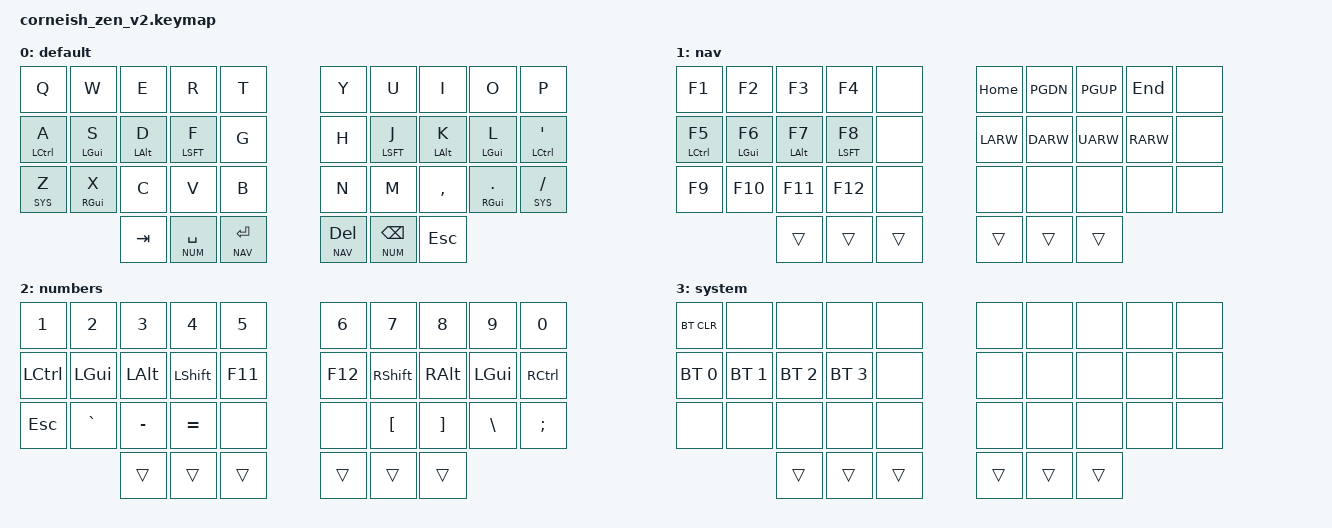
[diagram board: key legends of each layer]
#include <behaviors.dtsi>
#include <dt-bindings/zmk/keys.h>
#include <dt-bindings/zmk/bt.h>

#define DEF 0
#define NAV 1
#define NUM 2
#define SYS 3

&mt {
    flavor = "tap-preferred";
    tapping-term-ms = <150>;
    quick-tap-ms = <150>;
    global-quick-tap;
};

&lt {
    flavor = "tap-preferred";
    tapping-term-ms = <150>;
    quick-tap-ms = <150>;
};

/ {
  chosen {
    zmk,matrix_transform = &five_column_transform;
  };
};

#define COMBO(NAME, KEYPOS) \
    combo_##NAME { \
        timeout-ms = <100>; \
        key-positions = <KEYPOS>; \
        bindings = <&kp NAME>; \
    };

/ {
    combos {
        compatible = "zmk,combos";
        COMBO(NUM_1, 0 10)
        COMBO(NUM_2, 1 11)
        COMBO(NUM_3, 2 12)
        COMBO(NUM_4, 3 13)
        COMBO(NUM_5, 4 14)
        COMBO(NUM_6, 5 15)
        COMBO(NUM_7, 6 16)
        COMBO(NUM_8, 7 17)
        COMBO(NUM_9, 8 18)
        COMBO(NUM_0, 9 19)

        COMBO(ESC, 10 20)
        COMBO(GRAVE, 11 21)
        COMBO(MINUS, 12 22)
        COMBO(EQUAL, 13 23)
        COMBO(LEFT_BRACKET, 16 26)
        COMBO(RIGHT_BRACKET, 17 27)
        COMBO(BACKSLASH, 18 28)
        COMBO(SCLN, 19 29)
    };

    keymap {
        compatible = "zmk,keymap";

        def_layer {
            label = "default";
            bindings = <
    &kp Q       &kp W      &kp E      &kp R      &kp T &kp Y     &kp U      &kp I      &kp O      &kp P   
    &mt LCTL A  &mt LGUI S &mt LALT D &mt LSFT F &kp G &kp H     &mt LSFT J &mt LALT K &mt LGUI L &mt LCTL QUOT
    &lt SYS Z   &mt RGUI X      &kp C      &kp V   &kp B &kp N     &kp M   &kp CMMA   &mt RGUI DOT    &lt SYS SLASH
                	&kp TAB &lt NUM SPC &lt NAV RET &lt NAV DEL &lt NUM BKSP  &kp ESC
            >;
        };

        nav_layer {
            label = "nav";
            bindings = <
    &kp F1 &kp F2 &kp F3 &kp F4 &none &kp HOME &kp PGDN &kp PGUP &kp END &none
    &mt LCTL F5 &mt LGUI F6 &mt LALT F7 &mt LSFT F8 &none &kp LARW &kp DARW &kp UARW &kp RARW &none
    &kp F9 &kp F10 &kp F11 &kp F12 &none &none &none &none &none &none
                &trans &trans &trans &trans &trans &trans
            >;
        };

        num_layer {
            label = "numbers";
            bindings = <
    &kp NUMBER_1 &kp NUMBER_2 &kp NUMBER_3 &kp NUMBER_4 &kp NUMBER_5 &kp NUMBER_6 &kp NUMBER_7 &kp NUMBER_8 &kp NUMBER_9 &kp NUMBER_0
    &kp LCTRL &kp LGUI &kp LALT &kp LSHFT &kp F11 &kp F12 &kp RSHFT &kp RALT &kp LGUI &kp RCTRL
    &kp ESC &kp GRAVE &kp MINUS &kp EQUAL &none &none &kp LEFT_BRACKET &kp RIGHT_BRACKET &kp BACKSLASH &kp SCLN
                &trans &trans &trans &trans &trans &trans
            >;
        };

        sys_layer {
            label = "system";
            bindings = <
    &bt BT_CLR &none &none &none &none &none &none &none &none &none 
    &bt BT_SEL 0 &bt BT_SEL 1 &bt BT_SEL 2 &bt BT_SEL 3 &none &none &none &none &none &none 
    &none &none &none &none &none &none &none &none &none &none 
                &trans &trans &trans &trans &trans &trans
            >;
        };
    };

};
